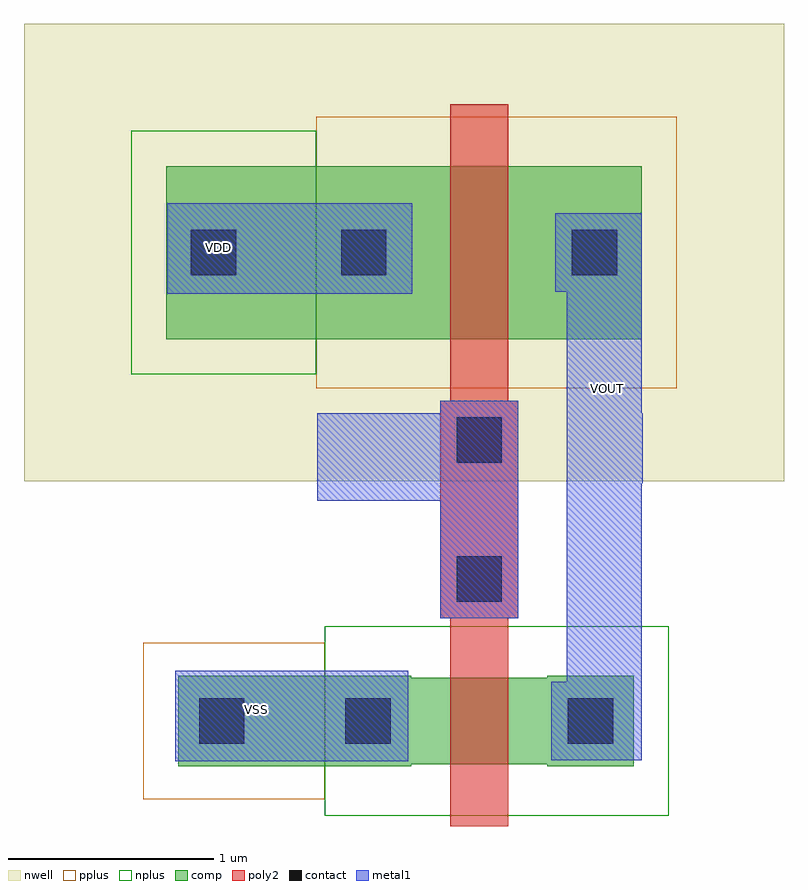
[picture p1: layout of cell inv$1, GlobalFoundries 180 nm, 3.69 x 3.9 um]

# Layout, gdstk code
from math import pi, radians
import gdstk
lib = gdstk.Library(unit=1e-6, precision=5e-09)
def R(c, l, rs):  # rectangles x0, y0, x1, y1
    for r in rs: c.add(gdstk.rectangle(r[:2], r[2:], *l))
def P(c, l, *ps):  # polygons
    for p in ps: c.add(gdstk.Polygon(p, *l))
nwell = (21, 0)
comp = (22, 0)
poly2 = (30, 0)
pplus = (31, 0)
nplus = (32, 0)
contact = (33, 0)
metal1 = (34, 0)

pfet_2 = lib.new_cell('pfet$2')
R(pfet_2, nwell, [(-58.65,9.76,-54.96,11.98)])
R(pfet_2, comp, [(-57.96,10.45,-57.5,11.29), (-57.5,10.45,-56.84,11.29), (-56.84,10.45,-56.38,11.29), (-56.38,10.45,-55.65,11.29)])
R(pfet_2, poly2, [(-57.31,10.15,-57.03,11.59), (-57.36,11.59,-56.98,11.97)])
R(pfet_2, pplus, [(-58.13,10.21,-56.38,11.53)])
R(pfet_2, nplus, [(-56.38,10.28,-55.48,11.46)])
R(pfet_2, contact, [(-57.84,10.76,-57.62,10.98), (-56.72,10.76,-56.5,10.98), (-55.99,10.76,-55.77,10.98), (-57.28,11.67,-57.06,11.89)])
R(pfet_2, metal1, [(-57.92,10.68,-57.54,11.06), (-56.8,10.68,-56.42,11.06), (-56.07,10.68,-55.69,11.06), (-57.36,11.59,-56.98,11.97)])

nfet_1_2 = lib.new_cell('nfet$1$2')
R(nfet_1_2, comp, [(-57.92,-10.46,-57.5,-10.02), (-56.84,-10.46,-56.42,-10.02), (-56.42,-10.46,-55.71,-10.02), (-57.5,-10.45,-56.84,-10.03)])
R(nfet_1_2, poly2, [(-57.31,-10.75,-57.03,-9.73), (-57.35,-9.73,-56.99,-9.37)])
R(nfet_1_2, pplus, [(-56.42,-10.62,-55.54,-9.86)])
R(nfet_1_2, nplus, [(-58.09,-10.7,-56.42,-9.78)])
R(nfet_1_2, contact, [(-57.82,-10.35,-57.6,-10.13), (-56.74,-10.35,-56.52,-10.13), (-56.03,-10.35,-55.81,-10.13), (-57.28,-9.66,-57.06,-9.44)])
R(nfet_1_2, metal1, [(-57.9,-10.43,-57.52,-10.05), (-56.82,-10.43,-56.44,-10.05), (-56.11,-10.43,-55.73,-10.05), (-57.36,-9.74,-56.98,-9.36)])

inv_1 = lib.new_cell('inv$1')
R(inv_1, poly2, [(57.855,-10.315,58.235,-9.26)])
R(inv_1, metal1, [(56.57,-11.01,57.7,-10.57), (58.47,-11.005,58.835,-8.35), (57.855,-10.315,58.235,-9.295), (57.26,-9.745,58.23,-9.32), (58.47,-9.66,58.84,-9.32), (56.53,-8.74,57.72,-8.3)])
P(inv_1, metal1, [(57.855,-9.295),(57.855,-9.295),(58.235,-9.295),(58.235,-9.295)])
inv_1.add(gdstk.Reference(pfet_2, (0.875,2.33), rotation=pi))
inv_1.add(gdstk.Reference(nfet_1_2, (0.875,-0.575), rotation=pi, x_reflection=True))
inv_1.add(gdstk.Label('VOUT', (58.67,-9.2), layer=34, texttype=10))
inv_1.add(gdstk.Label('VSS', (56.965,-10.76), layer=34, texttype=10))
inv_1.add(gdstk.Label('VDD', (56.78,-8.515), layer=34, texttype=10))

lib.write_gds('inv_1.gds')
